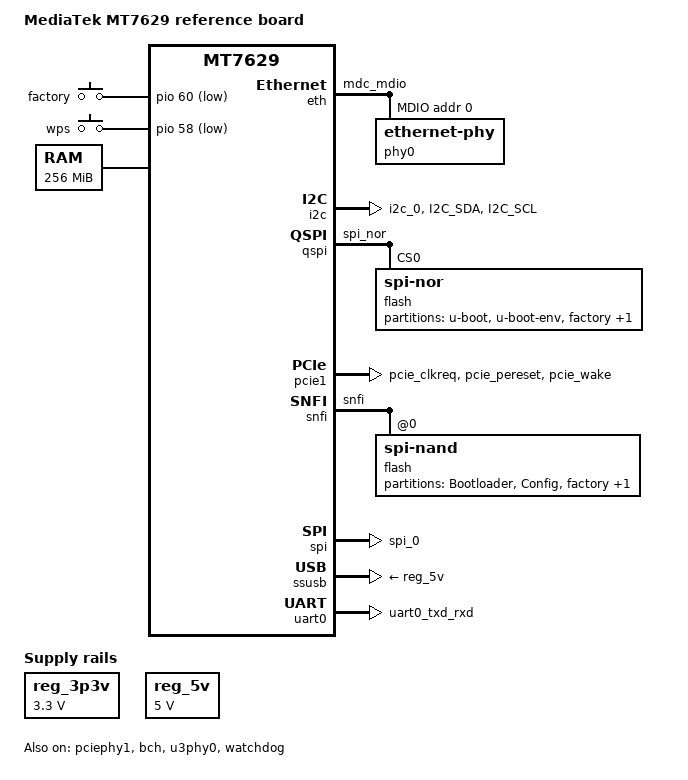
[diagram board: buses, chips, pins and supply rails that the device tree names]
// SPDX-License-Identifier: GPL-2.0
/*
 * Copyright (c) 2019 MediaTek Inc.
 * Author: Ryder Lee <ryder.lee@mediatek.com>
 */

/dts-v1/;
#include <dt-bindings/input/input.h>
#include "mt7629.dtsi"

/ {
	model = "MediaTek MT7629 reference board";
	compatible = "mediatek,mt7629-rfb", "mediatek,mt7629";

	aliases {
		serial0 = &uart0;
	};

	chosen {
		stdout-path = "serial0:115200n8";
		bootargs = "earlycon=uart8250,mmio32,0x11002000 console=ttyS0,115200n8";
	};

	gpio-keys {
		compatible = "gpio-keys";

		button-reset {
			label = "factory";
			linux,code = <KEY_RESTART>;
			gpios = <&pio 60 GPIO_ACTIVE_LOW>;
		};

		button-wps {
			label = "wps";
			linux,code = <KEY_WPS_BUTTON>;
			gpios = <&pio 58 GPIO_ACTIVE_LOW>;
		};
	};

	memory@40000000 {
		device_type = "memory";
		reg = <0x40000000 0x10000000>;
	};

	reg_3p3v: regulator-3p3v {
		compatible = "regulator-fixed";
		regulator-name = "fixed-3.3V";
		regulator-min-microvolt = <3300000>;
		regulator-max-microvolt = <3300000>;
		regulator-boot-on;
		regulator-always-on;
	};

	reg_5v: regulator-5v {
		compatible = "regulator-fixed";
		regulator-name = "fixed-5V";
		regulator-min-microvolt = <5000000>;
		regulator-max-microvolt = <5000000>;
		regulator-boot-on;
		regulator-always-on;
	};
};

&eth {
	pinctrl-names = "default";
	pinctrl-0 = <&eth_pins>;
	pinctrl-1 = <&ephy_leds_pins>;
	status = "okay";

	gmac0: mac@0 {
		compatible = "mediatek,eth-mac";
		reg = <0>;
		phy-mode = "2500base-x";

		nvmem-cells = <&macaddr_factory_2a>;
		nvmem-cell-names = "mac-address";

		fixed-link {
			speed = <2500>;
			full-duplex;
			pause;
		};
	};

	gmac1: mac@1 {
		compatible = "mediatek,eth-mac";
		reg = <1>;
		phy-mode = "gmii";
		phy-handle = <&phy0>;

		nvmem-cells = <&macaddr_factory_24>;
		nvmem-cell-names = "mac-address";
	};

	mdio: mdio-bus {
		#address-cells = <1>;
		#size-cells = <0>;

		phy0: ethernet-phy@0 {
			reg = <0>;
		};
	};
};

&i2c {
	pinctrl-names = "default";
	pinctrl-0 = <&i2c_pins>;
	status = "okay";
};

&qspi {
	pinctrl-names = "default";
	pinctrl-0 = <&qspi_pins>;
	status = "okay";

	flash@0 {
		compatible = "jedec,spi-nor";
		reg = <0>;

		partitions {
			compatible = "fixed-partitions";
			#address-cells = <1>;
			#size-cells = <1>;

			partition@0 {
				label = "u-boot";
				reg = <0x00000 0x60000>;
				read-only;
			};

			partition@60000 {
				label = "u-boot-env";
				reg = <0x60000 0x10000>;
				read-only;
			};

			factory: partition@70000 {
				label = "factory";
				reg = <0x70000 0x40000>;
				read-only;
			};

			partition@b0000 {
				label = "firmware";
				reg = <0xb0000 0xb50000>;
				compatible = "denx,fit";
			};
		};
	};
};

&pcie1 {
	pinctrl-names = "default";
	pinctrl-0 = <&pcie_pins>;
	status = "okay";
};

&pciephy1 {
	status = "okay";
};

&pio {
	eth_pins: eth-pins {
		mux {
			function = "eth";
			groups = "mdc_mdio";
		};
	};

	ephy_leds_pins: ephy-leds-pins {
		mux {
			function = "led";
			groups = "gphy_leds_0", "ephy_leds";
		};
	};

	i2c_pins: i2c-pins {
		mux {
			function = "i2c";
			groups = "i2c_0";
		};

		conf {
			pins = "I2C_SDA", "I2C_SCL";
			drive-strength = <4>;
			bias-disable;
		};
	};

	pcie_pins: pcie-pins {
		mux {
			function = "pcie";
			groups = "pcie_clkreq",
				 "pcie_pereset",
				 "pcie_wake";
		};
	};

	pwm_pins: pwm-pins {
		mux {
			function = "pwm";
			groups = "pwm_0";
		};
	};

	/* SPI-NOR is shared pin with serial NAND */
	qspi_pins: qspi-pins {
		mux {
			function = "flash";
			groups = "spi_nor";
		};
	};

	/* Serial NAND is shared pin with SPI-NOR */
	serial_nand_pins: serial-nand-pins {
		mux {
			function = "flash";
			groups = "snfi";
		};
	};

	spi_pins: spi-pins {
		mux {
			function = "spi";
			groups = "spi_0";
		};
	};

	uart0_pins: uart0-pins {
		mux {
			function = "uart";
			groups = "uart0_txd_rxd" ;
		};
	};

	uart1_pins: uart1-pins {
		mux {
			function = "uart";
			groups = "uart1_0_tx_rx" ;
		};
	};

	uart2_pins: uart2-pins {
		mux {
			function = "uart";
			groups = "uart2_0_txd_rxd" ;
		};
	};

	watchdog_pins: watchdog-pins {
		mux {
			function = "watchdog";
			groups = "watchdog";
		};
	};
};

&bch {
	status = "okay";
};

&snfi {
	pinctrl-names = "default";
	pinctrl-0 = <&serial_nand_pins>;
	status = "okay";
	flash@0 {
		compatible = "spi-nand";
		reg = <0>;
		spi-tx-bus-width = <4>;
		spi-rx-bus-width = <4>;
		nand-ecc-engine = <&snfi>;

		partitions {
			compatible = "fixed-partitions";
			#address-cells = <1>;
			#size-cells = <1>;

			partition@0 {
				label = "Bootloader";
				reg = <0x00000 0x0100000>;
				read-only;
			};

			partition@100000 {
				label = "Config";
				reg = <0x100000 0x0040000>;
			};

			partition@140000 {
				label = "factory";
				reg = <0x140000 0x0080000>;
			};

			partition@1c0000 {
				label = "firmware";
				reg = <0x1c0000 0x1000000>;
			};
		};
	};
};

&spi {
	pinctrl-names = "default";
	pinctrl-0 = <&spi_pins>;
	status = "okay";
};

&ssusb {
	vusb33-supply = <&reg_3p3v>;
	vbus-supply = <&reg_5v>;
	status = "okay";
};

&u3phy0 {
	status = "okay";
};

&uart0 {
	pinctrl-names = "default";
	pinctrl-0 = <&uart0_pins>;
	status = "okay";
};

&watchdog {
	pinctrl-names = "default";
	pinctrl-0 = <&watchdog_pins>;
	status = "okay";
};

&factory {
	nvmem-layout {
		compatible = "fixed-layout";
		#address-cells = <1>;
		#size-cells = <1>;

		macaddr_factory_24: macaddr@24 {
			reg = <0x24 0x6>;
		};

		macaddr_factory_2a: macaddr@2a {
			reg = <0x2a 0x6>;
		};
	};
};
